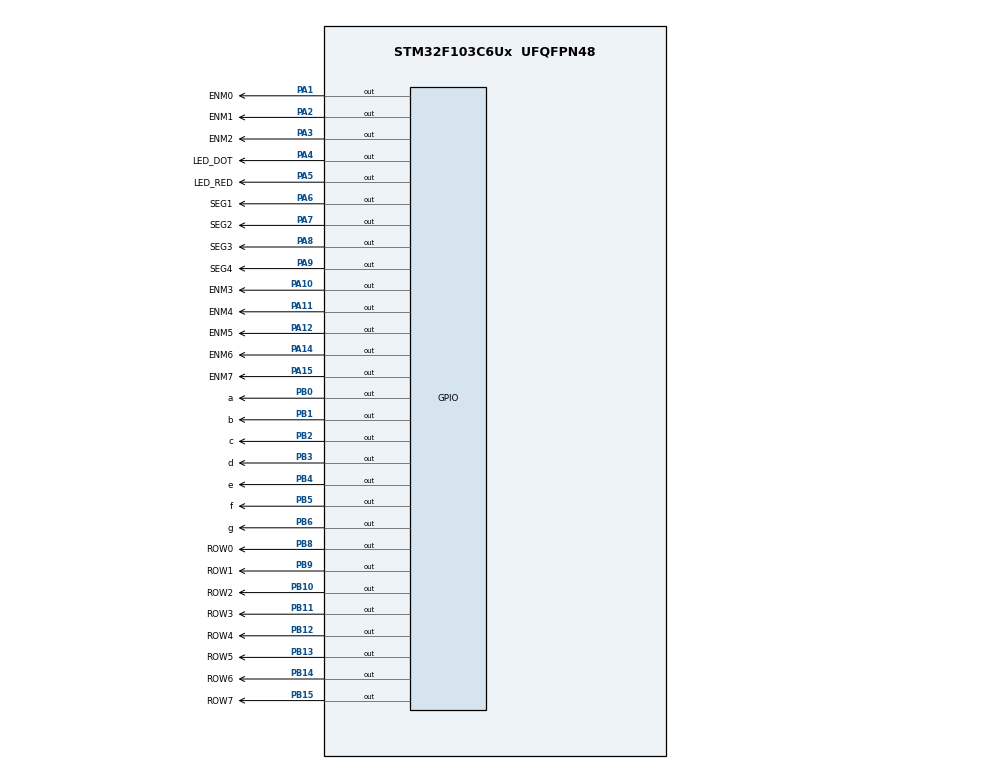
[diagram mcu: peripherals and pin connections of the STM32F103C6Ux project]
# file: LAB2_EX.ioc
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Mcu.Family=STM32F1
Mcu.Name=STM32F103C6Ux
Mcu.Package=UFQFPN48
NVIC.PriorityGroup=NVIC_PRIORITYGROUP_4
NVIC.TIM2_IRQn=true\:0\:0\:false\:false\:true\:true\:true
PA1.GPIO_Label=ENM0
PA1.Signal=GPIO_Output
PA10.GPIO_Label=ENM3
PA10.Signal=GPIO_Output
PA11.GPIO_Label=ENM4
PA11.Signal=GPIO_Output
PA12.GPIO_Label=ENM5
PA12.Signal=GPIO_Output
PA14.GPIO_Label=ENM6
PA14.Signal=GPIO_Output
PA15.GPIO_Label=ENM7
PA15.Signal=GPIO_Output
PA2.GPIO_Label=ENM1
PA2.Signal=GPIO_Output
PA3.GPIO_Label=ENM2
PA3.Signal=GPIO_Output
PA4.GPIO_Label=LED_DOT
PA4.Signal=GPIO_Output
PA5.GPIO_Label=LED_RED
PA5.Signal=GPIO_Output
PA6.GPIO_Label=SEG1
PA6.Signal=GPIO_Output
PA7.GPIO_Label=SEG2
PA7.Signal=GPIO_Output
PA8.GPIO_Label=SEG3
PA8.Signal=GPIO_Output
PA9.GPIO_Label=SEG4
PA9.Signal=GPIO_Output
PB0.GPIO_Label=a
PB0.Signal=GPIO_Output
PB1.GPIO_Label=b
PB1.Signal=GPIO_Output
PB10.GPIO_Label=ROW2
PB10.Signal=GPIO_Output
PB11.GPIO_Label=ROW3
PB11.Signal=GPIO_Output
PB12.GPIO_Label=ROW4
PB12.Signal=GPIO_Output
PB13.GPIO_Label=ROW5
PB13.Signal=GPIO_Output
PB14.GPIO_Label=ROW6
PB14.Signal=GPIO_Output
PB15.GPIO_Label=ROW7
PB15.Signal=GPIO_Output
PB2.GPIO_Label=c
PB2.Signal=GPIO_Output
PB3.GPIO_Label=d
PB3.Signal=GPIO_Output
PB4.GPIO_Label=e
PB4.Signal=GPIO_Output
PB5.GPIO_Label=f
PB5.Signal=GPIO_Output
PB6.GPIO_Label=g
PB6.Signal=GPIO_Output
PB8.GPIO_Label=ROW0
PB8.Signal=GPIO_Output
PB9.GPIO_Label=ROW1
PB9.Signal=GPIO_Output
ProjectManager.HeapSize=0x200
ProjectManager.StackSize=0x400
ProjectManager.TargetToolchain=STM32CubeIDE
RCC.APB1Freq_Value=8000000
RCC.APB2Freq_Value=8000000
TIM2.Period=9
TIM2.Prescaler=7999
VP_SYS_VS_ND.Mode=No_Debug
VP_TIM2_VS_ClockSourceINT.Mode=Internal
board=custom

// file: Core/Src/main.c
/* USER CODE BEGIN Header */
/**
  ******************************************************************************
  * @file           : main.c
  * @brief          : Main program body
  ******************************************************************************
  * @attention
  *
  * <h2><center>&copy; Copyright (c) 2023 STMicroelectronics.
  * All rights reserved.</center></h2>
  *
  * This software component is licensed by ST under BSD 3-Clause license,
  * the "License"; You may not use this file except in compliance with the
  * License. You may obtain a copy of the License at:
  *                        opensource.org/licenses/BSD-3-Clause
  *
  ******************************************************************************
  */
/* USER CODE END Header */
#include "main.h"

/* USER CODE BEGIN Includes */
#include "software_timer.h"
/* USER CODE END Includes */

TIM_HandleTypeDef htim2;

void SystemClock_Config(void);
static void MX_GPIO_Init(void);
static void MX_TIM2_Init(void);

/* USER CODE BEGIN 0 */

void display7SEG( int num)
  {
  	if ( num == 0)
  	{
  		HAL_GPIO_WritePin( a_GPIO_Port, a_Pin , GPIO_PIN_RESET);
  		HAL_GPIO_WritePin( b_GPIO_Port, b_Pin , GPIO_PIN_RESET);
  		HAL_GPIO_WritePin( c_GPIO_Port, c_Pin , GPIO_PIN_RESET);
  		HAL_GPIO_WritePin( d_GPIO_Port, d_Pin , GPIO_PIN_RESET);
  		HAL_GPIO_WritePin( e_GPIO_Port, e_Pin , GPIO_PIN_RESET);
  		HAL_GPIO_WritePin( f_GPIO_Port, f_Pin , GPIO_PIN_RESET);
  		HAL_GPIO_WritePin( g_GPIO_Port, g_Pin , GPIO_PIN_SET);
  	}
  	else if ( num == 1)
  	{
  		HAL_GPIO_WritePin( a_GPIO_Port, a_Pin , GPIO_PIN_SET);
  		HAL_GPIO_WritePin( b_GPIO_Port, b_Pin , GPIO_PIN_RESET);
  		HAL_GPIO_WritePin( c_GPIO_Port, c_Pin , GPIO_PIN_RESET);
  		HAL_GPIO_WritePin( d_GPIO_Port, d_Pin , GPIO_PIN_SET);
  		HAL_GPIO_WritePin( e_GPIO_Port, e_Pin , GPIO_PIN_SET);
  		HAL_GPIO_WritePin( f_GPIO_Port, f_Pin , GPIO_PIN_SET);
  		HAL_GPIO_WritePin( g_GPIO_Port, g_Pin , GPIO_PIN_SET);
  	}
  	else if (num == 2)
  	{
  		HAL_GPIO_WritePin( a_GPIO_Port, a_Pin , GPIO_PIN_RESET);
  		HAL_GPIO_WritePin( b_GPIO_Port, b_Pin , GPIO_PIN_RESET);
  		HAL_GPIO_WritePin( c_GPIO_Port, c_Pin , GPIO_PIN_SET);
  		HAL_GPIO_WritePin( d_GPIO_Port, d_Pin , GPIO_PIN_RESET);
  		HAL_GPIO_WritePin( e_GPIO_Port, e_Pin , GPIO_PIN_RESET);
  		HAL_GPIO_WritePin( f_GPIO_Port, f_Pin , GPIO_PIN_SET);
  		HAL_GPIO_WritePin( g_GPIO_Port, g_Pin , GPIO_PIN_RESET);
  	}
  	else if ( num == 3)
  	{
  		HAL_GPIO_WritePin( a_GPIO_Port, a_Pin , GPIO_PIN_RESET);
  		HAL_GPIO_WritePin( b_GPIO_Port, b_Pin , GPIO_PIN_RESET);
  		HAL_GPIO_WritePin( c_GPIO_Port, c_Pin , GPIO_PIN_RESET);
  		HAL_GPIO_WritePin( d_GPIO_Port, d_Pin , GPIO_PIN_RESET);
  		HAL_GPIO_WritePin( e_GPIO_Port, e_Pin , GPIO_PIN_SET);
  		HAL_GPIO_WritePin( f_GPIO_Port, f_Pin , GPIO_PIN_SET);
  		HAL_GPIO_WritePin( g_GPIO_Port, g_Pin , GPIO_PIN_RESET);
  	}
  	else if ( num == 4)
  	{
  		HAL_GPIO_WritePin( a_GPIO_Port, a_Pin , GPIO_PIN_SET);
  		HAL_GPIO_WritePin( b_GPIO_Port, b_Pin , GPIO_PIN_RESET);
  		HAL_GPIO_WritePin( c_GPIO_Port, c_Pin , GPIO_PIN_RESET);
  		HAL_GPIO_WritePin( d_GPIO_Port, d_Pin , GPIO_PIN_SET);
  		HAL_GPIO_WritePin( e_GPIO_Port, e_Pin , GPIO_PIN_SET);
  		HAL_GPIO_WritePin( f_GPIO_Port, f_Pin , GPIO_PIN_RESET);
  		HAL_GPIO_WritePin( g_GPIO_Port, g_Pin , GPIO_PIN_RESET);
  	}
  	else if ( num == 5)
  	{
  		HAL_GPIO_WritePin( a_GPIO_Port, a_Pin , GPIO_PIN_RESET);
  		HAL_GPIO_WritePin( b_GPIO_Port, b_Pin , GPIO_PIN_SET);
  		HAL_GPIO_WritePin( c_GPIO_Port, c_Pin , GPIO_PIN_RESET);
  		HAL_GPIO_WritePin( d_GPIO_Port, d_Pin , GPIO_PIN_RESET);
  		HAL_GPIO_WritePin( e_GPIO_Port, e_Pin , GPIO_PIN_SET);
  		HAL_GPIO_WritePin( f_GPIO_Port, f_Pin , GPIO_PIN_RESET);
  		HAL_GPIO_WritePin( g_GPIO_Port, g_Pin , GPIO_PIN_RESET);
  	}
  	else if ( num == 6)
  	{
  		HAL_GPIO_WritePin( a_GPIO_Port, a_Pin , GPIO_PIN_RESET);
  		HAL_GPIO_WritePin( b_GPIO_Port, b_Pin , GPIO_PIN_SET);
  		HAL_GPIO_WritePin( c_GPIO_Port, c_Pin , GPIO_PIN_RESET);
  		HAL_GPIO_WritePin( d_GPIO_Port, d_Pin , GPIO_PIN_RESET);
  		HAL_GPIO_WritePin( e_GPIO_Port, e_Pin , GPIO_PIN_RESET);
  		HAL_GPIO_WritePin( f_GPIO_Port, f_Pin , GPIO_PIN_RESET);
  		HAL_GPIO_WritePin( g_GPIO_Port, g_Pin , GPIO_PIN_RESET);
  	}
  	else if ( num == 7)
  	{
  		HAL_GPIO_WritePin( a_GPIO_Port, a_Pin , GPIO_PIN_RESET);
  		HAL_GPIO_WritePin( b_GPIO_Port, b_Pin , GPIO_PIN_RESET);
  		HAL_GPIO_WritePin( c_GPIO_Port, c_Pin , GPIO_PIN_RESET);
  		HAL_GPIO_WritePin( d_GPIO_Port, d_Pin , GPIO_PIN_SET);
  		HAL_GPIO_WritePin( e_GPIO_Port, e_Pin , GPIO_PIN_SET);
  		HAL_GPIO_WritePin( f_GPIO_Port, f_Pin , GPIO_PIN_SET);
  		HAL_GPIO_WritePin( g_GPIO_Port, g_Pin , GPIO_PIN_SET);
  	}
  	else if( num == 8)
  	{
  		HAL_GPIO_WritePin( a_GPIO_Port, a_Pin , GPIO_PIN_RESET);
  		HAL_GPIO_WritePin( b_GPIO_Port, b_Pin , GPIO_PIN_RESET);
  		HAL_GPIO_WritePin( c_GPIO_Port, c_Pin , GPIO_PIN_RESET);
  		HAL_GPIO_WritePin( d_GPIO_Port, d_Pin , GPIO_PIN_RESET);
  		HAL_GPIO_WritePin( e_GPIO_Port, e_Pin , GPIO_PIN_RESET);
  		HAL_GPIO_WritePin( f_GPIO_Port, f_Pin , GPIO_PIN_RESET);
  		HAL_GPIO_WritePin( g_GPIO_Port, g_Pin , GPIO_PIN_RESET);
  	}
  	else if ( num == 9)
  	{
  		HAL_GPIO_WritePin( a_GPIO_Port, a_Pin , GPIO_PIN_RESET);
  		HAL_GPIO_WritePin( b_GPIO_Port, b_Pin , GPIO_PIN_RESET);
  		HAL_GPIO_WritePin( c_GPIO_Port, c_Pin , GPIO_PIN_RESET);
  		HAL_GPIO_WritePin( d_GPIO_Port, d_Pin , GPIO_PIN_RESET);
  		HAL_GPIO_WritePin( e_GPIO_Port, e_Pin , GPIO_PIN_SET);
  		HAL_GPIO_WritePin( f_GPIO_Port, f_Pin , GPIO_PIN_RESET);
  		HAL_GPIO_WritePin( g_GPIO_Port, g_Pin , GPIO_PIN_RESET);
  	}
  }

  const int MAX_LED = 4;
  int index_led = 0;
  int led_buffer[4] = {1, 2, 3, 4};
  void update7SEG(int index){
  	switch(index){
  	case 0:
  		// Display the first 7 SEG with led_buffer [0]
  		HAL_GPIO_WritePin(SEG1_GPIO_Port, SEG1_Pin, RESET);
  		HAL_GPIO_WritePin(SEG2_GPIO_Port, SEG2_Pin, SET);
  		HAL_GPIO_WritePin(SEG3_GPIO_Port, SEG3_Pin, SET);
  		HAL_GPIO_WritePin(SEG4_GPIO_Port, SEG4_Pin, SET);
  		display7SEG(led_buffer[0]);
  		break;
  	case 1:
  		// Display the first 7 SEG with led_buffer [1]
  		HAL_GPIO_WritePin(SEG1_GPIO_Port, SEG1_Pin, SET);
  		HAL_GPIO_WritePin(SEG2_GPIO_Port, SEG2_Pin, RESET);
  		HAL_GPIO_WritePin(SEG3_GPIO_Port, SEG3_Pin, SET);
  		HAL_GPIO_WritePin(SEG4_GPIO_Port, SEG4_Pin, SET);
  		display7SEG(led_buffer[1]);

  		break;
  	case 2:
  		HAL_GPIO_WritePin(SEG1_GPIO_Port, SEG1_Pin, SET);
  		HAL_GPIO_WritePin(SEG2_GPIO_Port, SEG2_Pin, SET);
  		HAL_GPIO_WritePin(SEG3_GPIO_Port, SEG3_Pin, RESET);
  		HAL_GPIO_WritePin(SEG4_GPIO_Port, SEG4_Pin, SET);
  		display7SEG(led_buffer[2]);

  		break;
  	case 3:
  		HAL_GPIO_WritePin(SEG1_GPIO_Port, SEG1_Pin, SET);
  		HAL_GPIO_WritePin(SEG2_GPIO_Port, SEG2_Pin, SET);
  		HAL_GPIO_WritePin(SEG3_GPIO_Port, SEG3_Pin, SET);
  		HAL_GPIO_WritePin(SEG4_GPIO_Port, SEG4_Pin, RESET);
  		display7SEG(led_buffer[3]);

  		break;
  	default: break;

  	}
  }
  //TO DO EX5

  void updateClockBuffer(int hour, int minute){
  	led_buffer[0] = hour / 10;
  	led_buffer[1] = hour % 10;
  	led_buffer[2] = minute/10;
  	led_buffer[3] = minute % 10;
  }

const int MAX_LED_MATRIX = 8;
int index_led_matrix = 0;
uint16_t ROW_PIN[8] =  {ROW0_Pin, ROW1_Pin, ROW2_Pin, ROW3_Pin,
						ROW4_Pin, ROW5_Pin, ROW6_Pin, ROW7_Pin};
uint8_t matrix_buffer[8] = {0, 1, 2, 3, 4, 5, 6, 7};
void display8x8Matrix(int counter){
	if (counter == 0){
		HAL_GPIO_WritePin(ROW0_GPIO_Port, ROW0_Pin, GPIO_PIN_SET);
		HAL_GPIO_WritePin(ROW1_GPIO_Port, ROW1_Pin, GPIO_PIN_SET);
		HAL_GPIO_WritePin(ROW2_GPIO_Port, ROW2_Pin, GPIO_PIN_SET);
		HAL_GPIO_WritePin(ROW3_GPIO_Port, ROW3_Pin, GPIO_PIN_SET);
		HAL_GPIO_WritePin(ROW4_GPIO_Port, ROW4_Pin, GPIO_PIN_SET);
		HAL_GPIO_WritePin(ROW5_GPIO_Port, ROW5_Pin, GPIO_PIN_SET);
		HAL_GPIO_WritePin(ROW6_GPIO_Port, ROW6_Pin, GPIO_PIN_SET);
		HAL_GPIO_WritePin(ROW7_GPIO_Port, ROW7_Pin, GPIO_PIN_SET);

	}
	else if (counter == 1){
		HAL_GPIO_WritePin(ROW0_GPIO_Port, ROW0_Pin, GPIO_PIN_SET);
		HAL_GPIO_WritePin(ROW1_GPIO_Port, ROW1_Pin, GPIO_PIN_SET);
		HAL_GPIO_WritePin(ROW2_GPIO_Port, ROW2_Pin, GPIO_PIN_RESET);
		HAL_GPIO_WritePin(ROW3_GPIO_Port, ROW3_Pin, GPIO_PIN_RESET);
		HAL_GPIO_WritePin(ROW4_GPIO_Port, ROW4_Pin, GPIO_PIN_RESET);
		HAL_GPIO_WritePin(ROW5_GPIO_Port, ROW5_Pin, GPIO_PIN_RESET);
		HAL_GPIO_WritePin(ROW6_GPIO_Port, ROW6_Pin, GPIO_PIN_RESET);
		HAL_GPIO_WritePin(ROW7_GPIO_Port, ROW7_Pin, GPIO_PIN_RESET);
	}
	else if (counter == 2){
		HAL_GPIO_WritePin(ROW0_GPIO_Port, ROW0_Pin, GPIO_PIN_SET);
		HAL_GPIO_WritePin(ROW1_GPIO_Port, ROW1_Pin, GPIO_PIN_RESET);
		HAL_GPIO_WritePin(ROW2_GPIO_Port, ROW2_Pin, GPIO_PIN_RESET);
		HAL_GPIO_WritePin(ROW3_GPIO_Port, ROW3_Pin, GPIO_PIN_RESET);
		HAL_GPIO_WritePin(ROW4_GPIO_Port, ROW4_Pin, GPIO_PIN_RESET);
		HAL_GPIO_WritePin(ROW5_GPIO_Port, ROW5_Pin, GPIO_PIN_RESET);
		HAL_GPIO_WritePin(ROW6_GPIO_Port, ROW6_Pin, GPIO_PIN_RESET);
		HAL_GPIO_WritePin(ROW7_GPIO_Port, ROW7_Pin, GPIO_PIN_RESET);
	}
	else if (counter == 3){
		HAL_GPIO_WritePin(ROW0_GPIO_Port, ROW0_Pin, GPIO_PIN_RESET);
		HAL_GPIO_WritePin(ROW1_GPIO_Port, ROW1_Pin, GPIO_PIN_RESET);
		HAL_GPIO_WritePin(ROW2_GPIO_Port, ROW2_Pin, GPIO_PIN_SET);
		HAL_GPIO_WritePin(ROW3_GPIO_Port, ROW3_Pin, GPIO_PIN_SET);
		HAL_GPIO_WritePin(ROW4_GPIO_Port, ROW4_Pin, GPIO_PIN_SET);
		HAL_GPIO_WritePin(ROW5_GPIO_Port, ROW5_Pin, GPIO_PIN_RESET);
		HAL_GPIO_WritePin(ROW6_GPIO_Port, ROW6_Pin, GPIO_PIN_SET);
		HAL_GPIO_WritePin(ROW7_GPIO_Port, ROW7_Pin, GPIO_PIN_SET);
	}
	else if (counter == 4){
		HAL_GPIO_WritePin(ROW0_GPIO_Port, ROW0_Pin, GPIO_PIN_RESET);
		HAL_GPIO_WritePin(ROW1_GPIO_Port, ROW1_Pin, GPIO_PIN_RESET);
		HAL_GPIO_WritePin(ROW2_GPIO_Port, ROW2_Pin, GPIO_PIN_SET);
		HAL_GPIO_WritePin(ROW3_GPIO_Port, ROW3_Pin, GPIO_PIN_SET);
		HAL_GPIO_WritePin(ROW4_GPIO_Port, ROW4_Pin, GPIO_PIN_SET);
		HAL_GPIO_WritePin(ROW5_GPIO_Port, ROW5_Pin, GPIO_PIN_RESET);
		HAL_GPIO_WritePin(ROW6_GPIO_Port, ROW6_Pin, GPIO_PIN_SET);
		HAL_GPIO_WritePin(ROW7_GPIO_Port, ROW7_Pin, GPIO_PIN_SET);
	}
	else if(counter == 5){
		HAL_GPIO_WritePin(ROW0_GPIO_Port, ROW0_Pin, GPIO_PIN_SET);
		HAL_GPIO_WritePin(ROW1_GPIO_Port, ROW1_Pin, GPIO_PIN_RESET);
		HAL_GPIO_WritePin(ROW2_GPIO_Port, ROW2_Pin, GPIO_PIN_RESET);
		HAL_GPIO_WritePin(ROW3_GPIO_Port, ROW3_Pin, GPIO_PIN_RESET);
		HAL_GPIO_WritePin(ROW4_GPIO_Port, ROW4_Pin, GPIO_PIN_RESET);
		HAL_GPIO_WritePin(ROW5_GPIO_Port, ROW5_Pin, GPIO_PIN_RESET);
		HAL_GPIO_WritePin(ROW6_GPIO_Port, ROW6_Pin, GPIO_PIN_RESET);
		HAL_GPIO_WritePin(ROW7_GPIO_Port, ROW7_Pin, GPIO_PIN_RESET);

	}
	else if (counter == 6){
		HAL_GPIO_WritePin(ROW0_GPIO_Port, ROW0_Pin, GPIO_PIN_SET);
		HAL_GPIO_WritePin(ROW1_GPIO_Port, ROW1_Pin, GPIO_PIN_SET);
		HAL_GPIO_WritePin(ROW2_GPIO_Port, ROW2_Pin, GPIO_PIN_RESET);
		HAL_GPIO_WritePin(ROW3_GPIO_Port, ROW3_Pin, GPIO_PIN_RESET);
		HAL_GPIO_WritePin(ROW4_GPIO_Port, ROW4_Pin, GPIO_PIN_RESET);
		HAL_GPIO_WritePin(ROW5_GPIO_Port, ROW5_Pin, GPIO_PIN_RESET);
		HAL_GPIO_WritePin(ROW6_GPIO_Port, ROW6_Pin, GPIO_PIN_RESET);
		HAL_GPIO_WritePin(ROW7_GPIO_Port, ROW7_Pin, GPIO_PIN_RESET);

	}
	else if (counter == 7){
		HAL_GPIO_WritePin(ROW0_GPIO_Port, ROW0_Pin, GPIO_PIN_SET);
		HAL_GPIO_WritePin(ROW1_GPIO_Port, ROW1_Pin, GPIO_PIN_SET);
		HAL_GPIO_WritePin(ROW2_GPIO_Port, ROW2_Pin, GPIO_PIN_SET);
		HAL_GPIO_WritePin(ROW3_GPIO_Port, ROW3_Pin, GPIO_PIN_SET);
		HAL_GPIO_WritePin(ROW4_GPIO_Port, ROW4_Pin, GPIO_PIN_SET);
		HAL_GPIO_WritePin(ROW5_GPIO_Port, ROW5_Pin, GPIO_PIN_SET);
		HAL_GPIO_WritePin(ROW6_GPIO_Port, ROW6_Pin, GPIO_PIN_SET);
		HAL_GPIO_WritePin(ROW7_GPIO_Port, ROW7_Pin, GPIO_PIN_SET);

	}

}
void updateLEDMatrix(int index) {
    switch (index) {
        case 0:{
        	HAL_GPIO_WritePin(ENM0_GPIO_Port, ENM0_Pin, RESET);
        	HAL_GPIO_WritePin(ENM1_GPIO_Port, ENM1_Pin, SET);
        	HAL_GPIO_WritePin(ENM2_GPIO_Port, ENM2_Pin, SET);
        	HAL_GPIO_WritePin(ENM3_GPIO_Port, ENM3_Pin, SET);
        	HAL_GPIO_WritePin(ENM4_GPIO_Port, ENM4_Pin, SET);
        	HAL_GPIO_WritePin(ENM5_GPIO_Port, ENM5_Pin, SET);
        	HAL_GPIO_WritePin(ENM6_GPIO_Port, ENM6_Pin, SET);
        	HAL_GPIO_WritePin(ENM7_GPIO_Port, ENM7_Pin, SET);
        	display8x8Matrix(matrix_buffer[index]);
        }
        	break;
        case 1:{
        	HAL_GPIO_WritePin(ENM0_GPIO_Port, ENM0_Pin, SET);
        	HAL_GPIO_WritePin(ENM1_GPIO_Port, ENM1_Pin, RESET);
        	HAL_GPIO_WritePin(ENM2_GPIO_Port, ENM2_Pin, SET);
        	HAL_GPIO_WritePin(ENM3_GPIO_Port, ENM3_Pin, SET);
        	HAL_GPIO_WritePin(ENM4_GPIO_Port, ENM4_Pin, SET);
        	HAL_GPIO_WritePin(ENM5_GPIO_Port, ENM5_Pin, SET);
        	HAL_GPIO_WritePin(ENM6_GPIO_Port, ENM6_Pin, SET);
        	HAL_GPIO_WritePin(ENM7_GPIO_Port, ENM7_Pin, SET);
        	display8x8Matrix(matrix_buffer[index]);
        }
            break;
        case 2:{
        	HAL_GPIO_WritePin(ENM0_GPIO_Port, ENM0_Pin, SET);
        	HAL_GPIO_WritePin(ENM1_GPIO_Port, ENM1_Pin, SET);
        	HAL_GPIO_WritePin(ENM2_GPIO_Port, ENM2_Pin, RESET);
        	HAL_GPIO_WritePin(ENM3_GPIO_Port, ENM3_Pin, SET);
        	HAL_GPIO_WritePin(ENM4_GPIO_Port, ENM4_Pin, SET);
        	HAL_GPIO_WritePin(ENM5_GPIO_Port, ENM5_Pin, SET);
        	HAL_GPIO_WritePin(ENM6_GPIO_Port, ENM6_Pin, SET);
        	HAL_GPIO_WritePin(ENM7_GPIO_Port, ENM7_Pin, SET);
        	display8x8Matrix(matrix_buffer[index]);
        }
            break;
        case 3:{
        	HAL_GPIO_WritePin(ENM0_GPIO_Port, ENM0_Pin, SET);
        	HAL_GPIO_WritePin(ENM1_GPIO_Port, ENM1_Pin, SET);
        	HAL_GPIO_WritePin(ENM2_GPIO_Port, ENM2_Pin, SET);
        	HAL_GPIO_WritePin(ENM3_GPIO_Port, ENM3_Pin, RESET);
        	HAL_GPIO_WritePin(ENM4_GPIO_Port, ENM4_Pin, SET);
        	HAL_GPIO_WritePin(ENM5_GPIO_Port, ENM5_Pin, SET);
        	HAL_GPIO_WritePin(ENM6_GPIO_Port, ENM6_Pin, SET);
        	HAL_GPIO_WritePin(ENM7_GPIO_Port, ENM7_Pin, SET);
        	display8x8Matrix(matrix_buffer[index]);
        }
            break;
        case 4:{
        	HAL_GPIO_WritePin(ENM0_GPIO_Port, ENM0_Pin, SET);
        	HAL_GPIO_WritePin(ENM1_GPIO_Port, ENM1_Pin, SET);
        	HAL_GPIO_WritePin(ENM2_GPIO_Port, ENM2_Pin, SET);
        	HAL_GPIO_WritePin(ENM3_GPIO_Port, ENM3_Pin, SET);
        	HAL_GPIO_WritePin(ENM4_GPIO_Port, ENM4_Pin, RESET);
        	HAL_GPIO_WritePin(ENM5_GPIO_Port, ENM5_Pin, SET);
        	HAL_GPIO_WritePin(ENM6_GPIO_Port, ENM6_Pin, SET);
        	HAL_GPIO_WritePin(ENM7_GPIO_Port, ENM7_Pin, SET);
        	display8x8Matrix(matrix_buffer[index]);
        }
            break;
        case 5:{
        	HAL_GPIO_WritePin(ENM0_GPIO_Port, ENM0_Pin, SET);
        	HAL_GPIO_WritePin(ENM1_GPIO_Port, ENM1_Pin, SET);
        	HAL_GPIO_WritePin(ENM2_GPIO_Port, ENM2_Pin, SET);
        	HAL_GPIO_WritePin(ENM3_GPIO_Port, ENM3_Pin, SET);
        	HAL_GPIO_WritePin(ENM4_GPIO_Port, ENM4_Pin, SET);
        	HAL_GPIO_WritePin(ENM5_GPIO_Port, ENM5_Pin, RESET);
        	HAL_GPIO_WritePin(ENM6_GPIO_Port, ENM6_Pin, SET);
        	HAL_GPIO_WritePin(ENM7_GPIO_Port, ENM7_Pin, SET);
        	display8x8Matrix(matrix_buffer[index]);
        }
            break;
        case 6:{
        	HAL_GPIO_WritePin(ENM0_GPIO_Port, ENM0_Pin, SET);
        	HAL_GPIO_WritePin(ENM1_GPIO_Port, ENM1_Pin, SET);
        	HAL_GPIO_WritePin(ENM2_GPIO_Port, ENM2_Pin, SET);
        	HAL_GPIO_WritePin(ENM3_GPIO_Port, ENM3_Pin, SET);
        	HAL_GPIO_WritePin(ENM4_GPIO_Port, ENM4_Pin, SET);
        	HAL_GPIO_WritePin(ENM5_GPIO_Port, ENM5_Pin, SET);
        	HAL_GPIO_WritePin(ENM6_GPIO_Port, ENM6_Pin, RESET);
        	HAL_GPIO_WritePin(ENM7_GPIO_Port, ENM7_Pin, SET);
        	display8x8Matrix(matrix_buffer[index]);
        }
            break;
        case 7:{
        	HAL_GPIO_WritePin(ENM0_GPIO_Port, ENM0_Pin, SET);
        	HAL_GPIO_WritePin(ENM1_GPIO_Port, ENM1_Pin, SET);
        	HAL_GPIO_WritePin(ENM2_GPIO_Port, ENM2_Pin, SET);
        	HAL_GPIO_WritePin(ENM3_GPIO_Port, ENM3_Pin, SET);
        	HAL_GPIO_WritePin(ENM4_GPIO_Port, ENM4_Pin, SET);
        	HAL_GPIO_WritePin(ENM5_GPIO_Port, ENM5_Pin, SET);
        	HAL_GPIO_WritePin(ENM6_GPIO_Port, ENM6_Pin, SET);
        	HAL_GPIO_WritePin(ENM7_GPIO_Port, ENM7_Pin, RESET);
        	display8x8Matrix(matrix_buffer[index]);
        }
            break;
        default:
            break;
    }

}

/* USER CODE END 0 */

int main(void)
{

  /* MCU Configuration--------------------------------------------------------*/

  /* Reset of all peripherals, Initializes the Flash interface and the Systick. */
  HAL_Init();

  /* Configure the system clock */
  SystemClock_Config();

  /* Initialize all configured peripherals */
  MX_GPIO_Init();
  MX_TIM2_Init();
  /* USER CODE BEGIN 2 */
  HAL_TIM_Base_Start_IT(&htim2);

  /* USER CODE END 2 */

  /* Infinite loop */
  /* USER CODE BEGIN WHILE */
  //to do ex10
  setTimer0(2);
  setTimer1(3);
  setTimer2(5);
  int hour = 15, minute = 8, second = 50;
  while (1)
     {
  	   if(timer0_flag == 1)
  	   {
  		   HAL_GPIO_TogglePin(LED_RED_GPIO_Port, LED_RED_Pin);
  		   HAL_GPIO_TogglePin(LED_DOT_GPIO_Port, LED_DOT_Pin);
  		   	if(second >= 60){
  		   	 	second = 0;
  		   	 	minute ++;
  		   	}
  		   	if(minute >= 60){
  		   	 	minute = 0;
  		   	 	hour ++;
  		   	 }
  		   	 if(hour >= 24){
  		   	 	hour = 0;
  		   	 }
  		   	 second ++;
  		   	 updateClockBuffer(hour, minute);
  		   	 setTimer0(100);
  	   }
  	   if(timer1_flag == 1)
  	   {
  		   update7SEG(index_led);
  		   index_led++;
  		   if ( index_led == MAX_LED )
  		   {
  			   index_led = 0;
  		   }
  		   setTimer1(25);
  	   }
  	   if (timer2_flag == 1){
  		   updateLEDMatrix(index_led_matrix++);
  		   index_led_matrix %= MAX_LED_MATRIX;
  		   if (index_led_matrix == 0){
  			   matrix_buffer[7] = matrix_buffer[0];
  		   }
  		   else {
  			   matrix_buffer[index_led_matrix-1] = matrix_buffer[index_led_matrix];
  		   }
  		   setTimer2(5);
  	   	}
     }

}

void SystemClock_Config(void)
{
  RCC_OscInitTypeDef RCC_OscInitStruct = {0};
  RCC_ClkInitTypeDef RCC_ClkInitStruct = {0};

  /** Initializes the RCC Oscillators according to the specified parameters
  * in the RCC_OscInitTypeDef structure.
  */
  RCC_OscInitStruct.OscillatorType = RCC_OSCILLATORTYPE_HSI;
  RCC_OscInitStruct.HSIState = RCC_HSI_ON;
  RCC_OscInitStruct.HSICalibrationValue = RCC_HSICALIBRATION_DEFAULT;
  RCC_OscInitStruct.PLL.PLLState = RCC_PLL_NONE;
  if (HAL_RCC_OscConfig(&RCC_OscInitStruct) != HAL_OK)
  {
    Error_Handler();
  }
  /** Initializes the CPU, AHB and APB buses clocks
  */
  RCC_ClkInitStruct.ClockType = RCC_CLOCKTYPE_HCLK|RCC_CLOCKTYPE_SYSCLK
                              |RCC_CLOCKTYPE_PCLK1|RCC_CLOCKTYPE_PCLK2;
  RCC_ClkInitStruct.SYSCLKSource = RCC_SYSCLKSOURCE_HSI;
  RCC_ClkInitStruct.AHBCLKDivider = RCC_SYSCLK_DIV1;
  RCC_ClkInitStruct.APB1CLKDivider = RCC_HCLK_DIV1;
  RCC_ClkInitStruct.APB2CLKDivider = RCC_HCLK_DIV1;

  if (HAL_RCC_ClockConfig(&RCC_ClkInitStruct, FLASH_LATENCY_0) != HAL_OK)
  {
    Error_Handler();
  }
}

static void MX_TIM2_Init(void)
{

  TIM_ClockConfigTypeDef sClockSourceConfig = {0};
  TIM_MasterConfigTypeDef sMasterConfig = {0};

  htim2.Instance = TIM2;
  htim2.Init.Prescaler = 7999;
  htim2.Init.CounterMode = TIM_COUNTERMODE_UP;
  htim2.Init.Period = 9;
  htim2.Init.ClockDivision = TIM_CLOCKDIVISION_DIV1;
  htim2.Init.AutoReloadPreload = TIM_AUTORELOAD_PRELOAD_DISABLE;
  if (HAL_TIM_Base_Init(&htim2) != HAL_OK)
  {
    Error_Handler();
  }
  sClockSourceConfig.ClockSource = TIM_CLOCKSOURCE_INTERNAL;
  if (HAL_TIM_ConfigClockSource(&htim2, &sClockSourceConfig) != HAL_OK)
  {
    Error_Handler();
  }
  sMasterConfig.MasterOutputTrigger = TIM_TRGO_RESET;
  sMasterConfig.MasterSlaveMode = TIM_MASTERSLAVEMODE_DISABLE;
  if (HAL_TIMEx_MasterConfigSynchronization(&htim2, &sMasterConfig) != HAL_OK)
  {
    Error_Handler();
  }

}

static void MX_GPIO_Init(void)
{
  GPIO_InitTypeDef GPIO_InitStruct = {0};

  /* GPIO Ports Clock Enable */
  __HAL_RCC_GPIOA_CLK_ENABLE();
  __HAL_RCC_GPIOB_CLK_ENABLE();

  /*Configure GPIO pin Output Level */
  HAL_GPIO_WritePin(GPIOA, ENM0_Pin|ENM1_Pin|ENM2_Pin|LED_DOT_Pin
                          |LED_RED_Pin|SEG1_Pin|SEG2_Pin|SEG3_Pin
                          |SEG4_Pin|ENM3_Pin|ENM4_Pin|ENM5_Pin
                          |ENM6_Pin|ENM7_Pin, GPIO_PIN_RESET);

  /*Configure GPIO pin Output Level */
  HAL_GPIO_WritePin(GPIOB, a_Pin|b_Pin|c_Pin|ROW2_Pin
                          |ROW3_Pin|ROW4_Pin|ROW5_Pin|ROW6_Pin
                          |ROW7_Pin|d_Pin|e_Pin|f_Pin
                          |g_Pin|ROW0_Pin|ROW1_Pin, GPIO_PIN_RESET);

  /*Configure GPIO pins : ENM0_Pin ENM1_Pin ENM2_Pin LED_DOT_Pin
                           LED_RED_Pin SEG1_Pin SEG2_Pin SEG3_Pin
                           SEG4_Pin ENM3_Pin ENM4_Pin ENM5_Pin
                           ENM6_Pin ENM7_Pin */
  GPIO_InitStruct.Pin = ENM0_Pin|ENM1_Pin|ENM2_Pin|LED_DOT_Pin
                          |LED_RED_Pin|SEG1_Pin|SEG2_Pin|SEG3_Pin
                          |SEG4_Pin|ENM3_Pin|ENM4_Pin|ENM5_Pin
                          |ENM6_Pin|ENM7_Pin;
  GPIO_InitStruct.Mode = GPIO_MODE_OUTPUT_PP;
  GPIO_InitStruct.Pull = GPIO_NOPULL;
  GPIO_InitStruct.Speed = GPIO_SPEED_FREQ_LOW;
  HAL_GPIO_Init(GPIOA, &GPIO_InitStruct);

  /*Configure GPIO pins : a_Pin b_Pin c_Pin ROW2_Pin
                           ROW3_Pin ROW4_Pin ROW5_Pin ROW6_Pin
                           ROW7_Pin d_Pin e_Pin f_Pin
                           g_Pin ROW0_Pin ROW1_Pin */
  GPIO_InitStruct.Pin = a_Pin|b_Pin|c_Pin|ROW2_Pin
                          |ROW3_Pin|ROW4_Pin|ROW5_Pin|ROW6_Pin
                          |ROW7_Pin|d_Pin|e_Pin|f_Pin
                          |g_Pin|ROW0_Pin|ROW1_Pin;
  GPIO_InitStruct.Mode = GPIO_MODE_OUTPUT_PP;
  GPIO_InitStruct.Pull = GPIO_NOPULL;
  GPIO_InitStruct.Speed = GPIO_SPEED_FREQ_LOW;
  HAL_GPIO_Init(GPIOB, &GPIO_InitStruct);

}

/* USER CODE BEGIN 4 */
void HAL_TIM_PeriodElapsedCallback(TIM_HandleTypeDef* htim){
	timerRun();
}

/* USER CODE END 4 */

void Error_Handler(void)
{
  __disable_irq();
  while (1)
  {
  }
}

/************************ (C) COPYRIGHT STMicroelectronics *****END OF FILE****/
